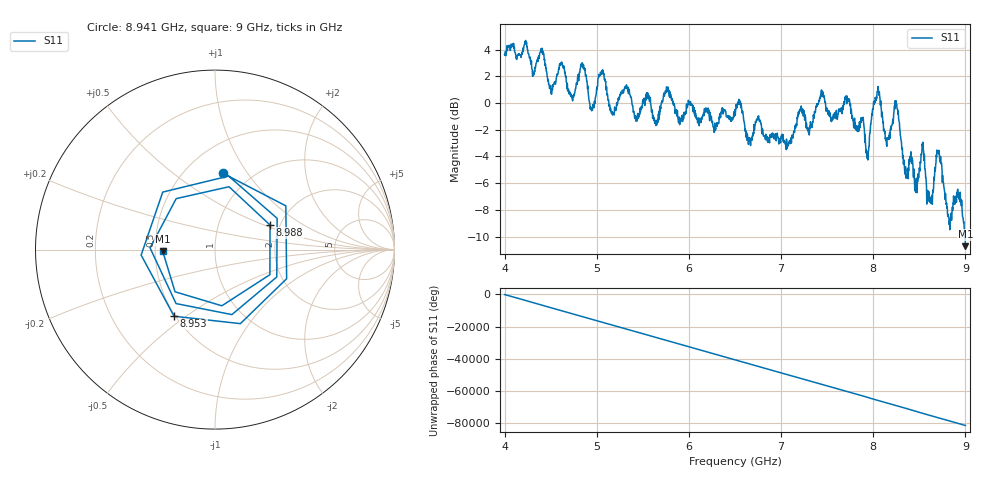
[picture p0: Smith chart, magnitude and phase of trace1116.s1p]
! Created with skrf 1.8.0 (http://scikit-rf.org).
# Hz S RI R 50.0
!freq ReS11 ImS11
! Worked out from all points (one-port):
!   1601 points, 4 GHz to 9 GHz, reference 50 ohm
!   lowest |S11| = -10.7 dB at 9 GHz (marker M1), VSWR 1.82, Z = 27.4 - j0.561 ohm
!   |S11| at or under -10 dB: 8.993866 GHz to 8.994328 GHz (462.4 kHz wide, 0.00514 % of centre); 8.997672 GHz to end of sweep
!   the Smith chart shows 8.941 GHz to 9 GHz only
!   S11 on the Smith chart (normalised r, x): 8.941 GHz: 0.75, +0.78; 8.953 GHz: 0.49, -0.45; 8.988 GHz: 1.78, +0.55; 9 GHz: 0.55, -0.01
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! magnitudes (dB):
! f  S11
! 4 GHz  3.6
! 4.403 GHz  4.0
! 4.503 GHz  0.8
! 4.625 GHz  3.0
! 4.734 GHz  0.4
! 4.85 GHz  2.9
! 4.944 GHz  -0.6
! 5.047 GHz  2.2
! 5.162 GHz  -0.8
! 5.25 GHz  0.5
! 5.875 GHz  -0.6
! 6.5 GHz  -0.5
! 7.125 GHz  -2.5
! 7.444 GHz  0.5
! 7.75 GHz  -0.2
! 7.934 GHz  -4.1
! 8.041 GHz  0.8
! 8.156 GHz  -2.7
! 8.25 GHz  -0.2
! 8.375 GHz  -5.2
! 8.538 GHz  -2.9
! 8.619 GHz  -7.1
! 8.709 GHz  -3.8
! 8.825 GHz  -9.1
! 8.941 GHz  -7.4
! 8.953 GHz  -7.2
! 8.988 GHz  -9.5
! 9 GHz  -10.7
